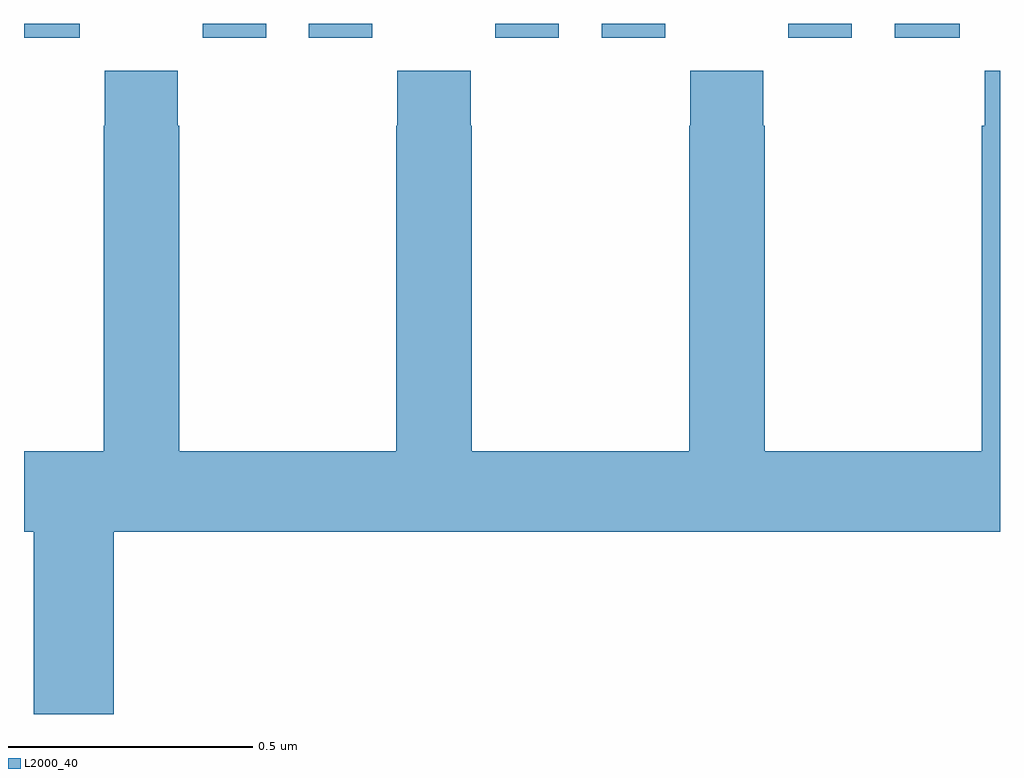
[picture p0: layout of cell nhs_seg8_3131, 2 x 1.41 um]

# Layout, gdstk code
import gdstk
lib = gdstk.Library(unit=1e-6, precision=1e-09)
def R(c, l, rs):  # rectangles x0, y0, x1, y1
    for r in rs: c.add(gdstk.rectangle(r[:2], r[2:], *l))
def P(c, l, *ps):  # polygons
    for p in ps: c.add(gdstk.Polygon(p, *l))
L2000_40 = (2000, 40)

nhs_seg8_3131 = lib.new_cell('nhs_seg8_3131')
R(nhs_seg8_3131, L2000_40, [(153,1090.872,153.114,1090.9), (153.366,1090.872,153.496,1090.9), (153.584,1090.872,153.714,1090.9), (153.966,1090.872,154.096,1090.9), (154.184,1090.872,154.314,1090.9), (154.566,1090.872,154.696,1090.9), (154.784,1090.872,154.918,1090.9)])
P(nhs_seg8_3131, L2000_40, [(153.184,1089.86),(155,1089.86),(155,1090.804),(154.969,1090.804),(154.969,1090.691),(154.963,1090.691),(154.963,1090.024),(154.518,1090.024),(154.518,1090.691),(154.515,1090.691),(154.515,1090.804),(154.365,1090.804),(154.365,1090.691),(154.363,1090.691),(154.363,1090.024),(153.918,1090.024),(153.918,1090.691),(153.915,1090.691),(153.915,1090.804),(153.765,1090.804),(153.765,1090.691),(153.763,1090.691),(153.763,1090.024),(153.318,1090.024),(153.318,1090.691),(153.315,1090.691),(153.315,1090.804),(153.165,1090.804),(153.165,1090.691),(153.163,1090.691),(153.163,1090.024),(153,1090.024),(153,1089.86),(153.02,1089.86),(153.02,1089.486),(153.184,1089.486)])

lib.write_gds('nhs_seg8_3131.gds')
